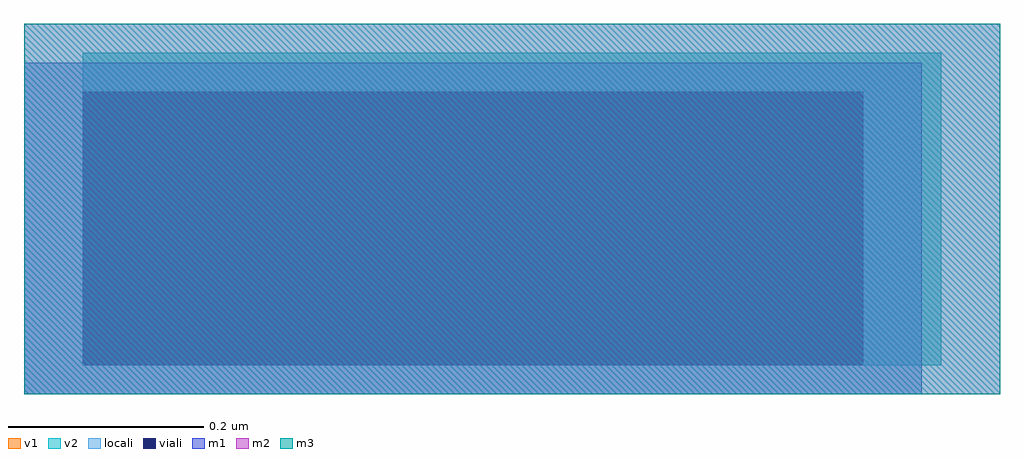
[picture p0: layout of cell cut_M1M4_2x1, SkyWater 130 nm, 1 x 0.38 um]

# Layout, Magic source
magic
tech sky130B
magscale 1 1
<< locali >>
rect 0 0 92 34
<< m1 >>
rect 0 0 92 34
<< m2 >>
rect 0 0 100 38
<< m3 >>
rect 0 0 100 38
<< viali >>
rect 6 3 86 31
<< v1 >>
rect 6 3 86 31
<< v2 >>
rect 6 3 94 35
<< labels >>
<< properties >>
string FIXED_BBOX 0 0 100 38
<< end >>
